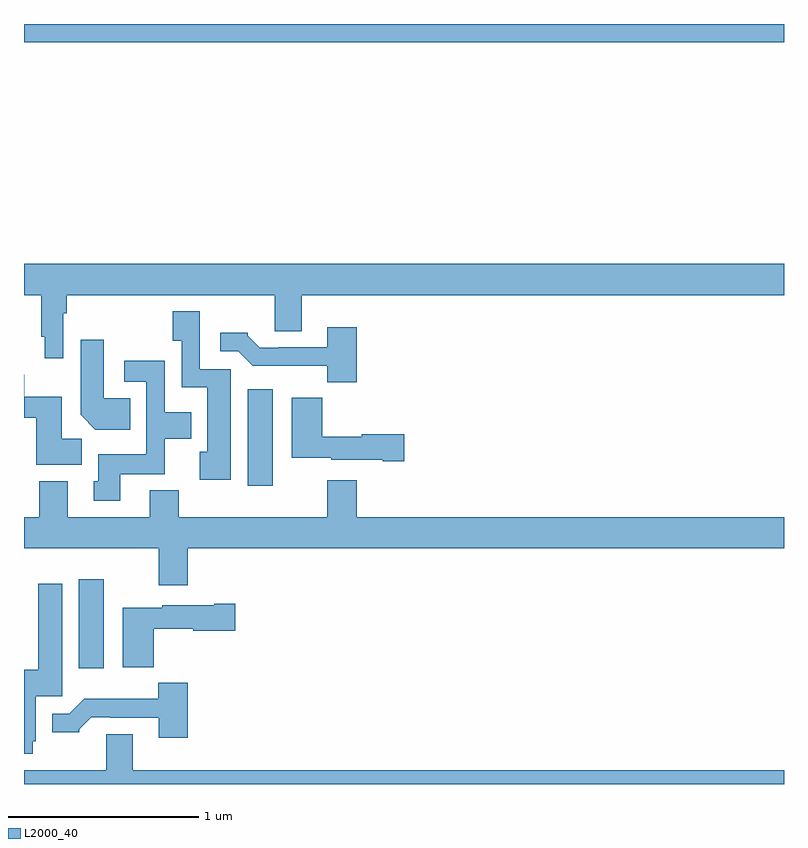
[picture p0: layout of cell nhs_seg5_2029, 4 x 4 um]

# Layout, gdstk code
import gdstk
lib = gdstk.Library(unit=1e-6, precision=1e-09)
def R(c, l, rs):  # rectangles x0, y0, x1, y1
    for r in rs: c.add(gdstk.rectangle(r[:2], r[2:], *l))
def P(c, l, *ps):  # polygons
    for p in ps: c.add(gdstk.Polygon(p, *l))
L2000_40 = (2000, 40)

nhs_seg5_2029 = lib.new_cell('nhs_seg5_2029')
R(nhs_seg5_2029, L2000_40, [(229.289,909.408,229.42,909.877), (230.177,910.368,230.308,910.876), (229,912.704,233,912.799)])
P(nhs_seg5_2029, L2000_40, [(229.206,911.276),(229.226,911.276),(229.226,911.372),(230.321,911.372),(230.321,911.182),(230.461,911.182),(230.461,911.372),(233,911.372),(233,911.536),(229,911.536),(229,911.372),(229.09,911.372),(229.09,911.152),(229.11,911.152),(229.11,911.04),(229.206,911.04)],
  [(230.089,910.983),(229.926,910.983),(229.926,911.287),(229.783,911.287),(229.783,911.131),(229.83,911.131),(229.83,910.886),(229.964,910.886),(229.964,910.547),(229.925,910.547),(229.925,910.4),(230.089,910.4)],
  [(230.75,911.203),(230.597,911.203),(230.597,911.097),(230.341,911.097),(230.341,911.094),(230.242,911.094),(230.178,911.158),(230.178,911.173),(230.034,911.173),(230.034,911.076),(230.127,911.076),(230.203,911),(230.595,911),(230.595,910.913),(230.75,910.913)],
  [(229.559,910.828),(229.42,910.828),(229.42,911.137),(229.298,911.137),(229.298,910.742),(229.376,910.664),(229.559,910.664)],
  [(229.507,910.43),(229.742,910.43),(229.742,910.617),(229.879,910.617),(229.879,910.756),(229.74,910.756),(229.74,911.026),(229.527,911.026),(229.527,910.917),(229.644,910.917),(229.644,910.534),(229.391,910.534),(229.391,910.392),(229.367,910.392),(229.367,910.29),(229.507,910.29)],
  [(229.303,910.616),(229.198,910.616),(229.198,910.837),(229.002,910.837),(229.002,910.952),(229,910.952),(229,910.727),(229.064,910.727),(229.064,910.478),(229.303,910.478)],
  [(231.001,910.64),(230.778,910.64),(230.778,910.627),(230.57,910.627),(230.57,910.831),(230.408,910.831),(230.408,910.517),(230.616,910.517),(230.616,910.505),(230.888,910.505),(230.888,910.498),(231.001,910.498)],
  [(229.862,910.04),(233,910.04),(233,910.204),(230.75,910.204),(230.75,910.399),(230.597,910.399),(230.597,910.204),(229.814,910.204),(229.814,910.345),(229.661,910.345),(229.661,910.204),(229.231,910.204),(229.231,910.393),(229.079,910.393),(229.079,910.204),(229,910.204),(229,910.04),(229.709,910.04),(229.709,909.846),(229.862,909.846)],
  [(229.047,909.024),(229.063,909.024),(229.063,909.261),(229.201,909.261),(229.201,909.853),(229.076,909.853),(229.076,909.4),(229,909.4),(229,908.958),(229.047,908.958)],
  [(229.682,909.617),(229.89,909.617),(229.89,909.605),(230.113,909.605),(230.113,909.747),(230,909.747),(230,909.739),(229.728,909.739),(229.728,909.727),(229.52,909.727),(229.52,909.413),(229.682,909.413)],
  [(229.862,909.331),(229.707,909.331),(229.707,909.247),(229.318,909.247),(229.239,909.168),(229.148,909.168),(229.148,909.071),(229.29,909.071),(229.29,909.086),(229.354,909.15),(229.453,909.15),(229.453,909.147),(229.709,909.147),(229.709,909.042),(229.862,909.042)],
  [(229.433,909.062),(229.433,908.872),(229,908.872),(229,908.799),(233,908.799),(233,908.872),(229.573,908.872),(229.573,909.062)])

lib.write_gds('nhs_seg5_2029.gds')
